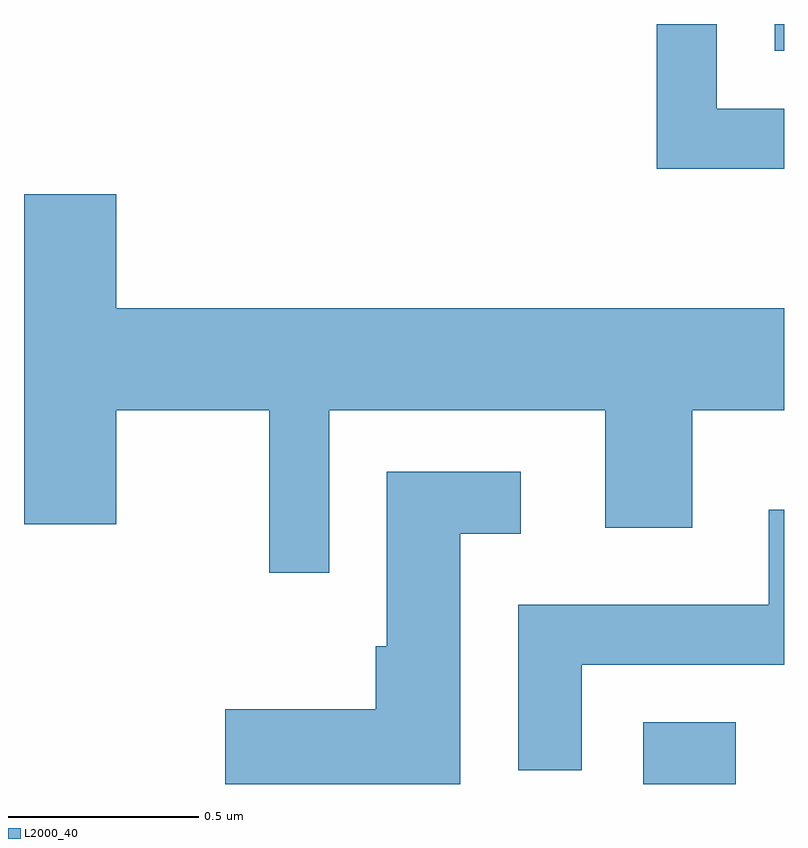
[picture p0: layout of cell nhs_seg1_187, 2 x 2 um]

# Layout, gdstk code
import gdstk
lib = gdstk.Library(unit=1e-6, precision=1e-09)
def R(c, l, rs):  # rectangles x0, y0, x1, y1
    for r in rs: c.add(gdstk.rectangle(r[:2], r[2:], *l))
def P(c, l, *ps):  # polygons
    for p in ps: c.add(gdstk.Polygon(p, *l))
L2000_40 = (2000, 40)

nhs_seg1_187 = lib.new_cell('nhs_seg1_187')
R(nhs_seg1_187, L2000_40, [(188.241,889.712,188.484,889.874), (188.586,891.641,188.611,891.712)])
P(nhs_seg1_187, L2000_40, [(188.611,891.489),(188.434,891.489),(188.434,891.712),(188.276,891.712),(188.276,891.331),(188.611,891.331)],
  [(187.414,890.696),(188.141,890.696),(188.141,890.386),(188.369,890.386),(188.369,890.696),(188.611,890.696),(188.611,890.964),(186.854,890.964),(186.854,891.264),(186.611,891.264),(186.611,890.396),(186.854,890.396),(186.854,890.696),(187.256,890.696),(187.256,890.268),(187.414,890.268)],
  [(187.759,890.371),(187.918,890.371),(187.918,890.534),(187.566,890.534),(187.566,890.074),(187.536,890.074),(187.536,889.909),(187.141,889.909),(187.141,889.712),(187.759,889.712)],
  [(188.079,890.026),(188.611,890.026),(188.611,890.434),(188.571,890.434),(188.571,890.184),(187.911,890.184),(187.911,889.748),(188.079,889.748)])

lib.write_gds('nhs_seg1_187.gds')
